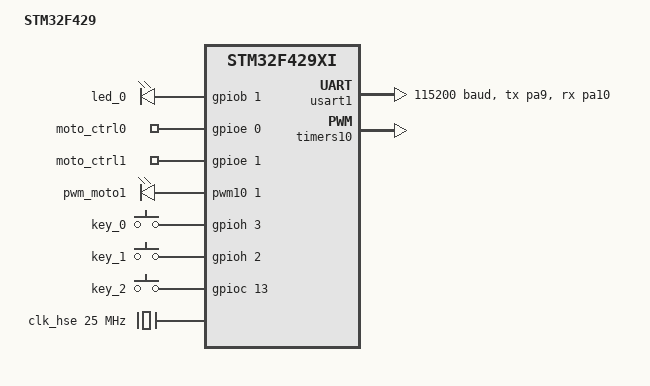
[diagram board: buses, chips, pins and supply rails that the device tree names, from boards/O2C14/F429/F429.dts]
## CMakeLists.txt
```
# SPDX-License-Identifier: Apache-2.0

cmake_minimum_required(VERSION 3.20.0)

find_package(Zephyr REQUIRED HINTS $ENV{ZEPHYR_BASE})
project(F429)

target_sources(app PRIVATE src/main.c)
```

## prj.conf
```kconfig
CONFIG_PWM=y
CONFIG_GPIO=y
CONFIG_SHELL=y
CONFIG_HEAP_MEM_POOL_SIZE=256
```

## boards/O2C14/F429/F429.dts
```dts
/dts-v1/;
#include <st/f4/stm32f429Xi.dtsi>
#include <st/f4/stm32f429i(e-g)tx-pinctrl.dtsi>

/ {
	model = "STM32F429";
	compatible = "O2C14,F429";

	chosen {
		zephyr,console = &usart1;
		zephyr,shell-uart = &usart1;
		zephyr,sram = &sram0;
		zephyr,flash = &flash0;
		zephyr,code-partition = &slot0_partition;
	};

	leds: leds {
		compatible = "gpio-leds";
		led_0: led_0 {
			gpios = <&gpiob 1 GPIO_ACTIVE_HIGH>;
		};
		moto_ctrl0: moto_ctrl0 {
			gpios = <&gpioe 0 GPIO_ACTIVE_HIGH>;
		};
		moto_ctrl1: moto_ctrl1 {
			gpios = <&gpioe 1 GPIO_ACTIVE_HIGH>;
		};
	};
	
	pwm_motos: pwm_motos {
		compatible = "pwm-leds";
		pwm_moto1:pwm_moto1{
			pwms = <&pwm10 1 PWM_MSEC(20) PWM_POLARITY_NORMAL>;
		};
	};

	gpio_keys {
		compatible = "gpio-keys";
		key_0: key_0 {
			gpios = <&gpioh 3 GPIO_ACTIVE_HIGH>;
		};
		key_1: key_1 {
			gpios = <&gpioh 2 GPIO_ACTIVE_HIGH>;
		};
		key_2: key_2 {
			gpios = <&gpioc 13 GPIO_ACTIVE_HIGH>;
		};
	};

	aliases {
		led0 = &led_0;
		sw0 = &key_0;
		sw1 = &key_1;
		sw2 = &key_2;
		moto-in3 = &moto_ctrl0;
		moto-in4 = &moto_ctrl1;
		pwm-moto = &pwm_moto1;
	};
};

&clk_lsi {
	status = "okay";
};

&clk_hse {
	// hse-bypass;
	clock-frequency = <DT_FREQ_M(25)>;
	status = "okay";
};

&pll {
	div-m = <25>;
	mul-n = <336>;
	div-p = <2>;// rcc
	div-q = <7>;
	clocks = <&clk_hse>;
	status = "okay";
};

&rcc {
	clocks = <&pll>;
	clock-frequency = <DT_FREQ_M(168)>; /* highest value to get a precise USB clock */
	ahb-prescaler = <1>;
	apb1-prescaler = <4>;
	apb2-prescaler = <2>;
};

&usart1 {
	pinctrl-0 = <&usart1_tx_pa9 &usart1_rx_pa10>;
	pinctrl-names = "default";
	current-speed = <115200>;
	status = "okay";
};

&timers10 {
	st,prescaler = <10000>;// 8.4k
	status = "okay";

	pwm10: pwm {
		status = "okay";
		pinctrl-0 = <&tim10_ch1_pf6>;
		pinctrl-names = "default";
	};
};

&sram0 {
	reg = <0x20000000 DT_SIZE_K(256)>;
};

&flash0 {
	reg = <0x08000000 DT_SIZE_K(1024)>;
	partitions {
		compatible = "fixed-partitions";
		#address-cells = <1>;
		#size-cells = <1>;

		/* 32KB for bootloader */
		boot_partition: partition@0 {
			label = "mcuboot";
			reg = <0x00000000 DT_SIZE_K(32)>;
			read-only;
		};

		/*
		 * nvs subsystem requires 2 sectors with a max total of 32K
		 * On F4 series, the only option is to use the following
		 * partition, which is compatible with mcuboot usage.
		 * Keep it commented in order it is not used by CI.
		 *
		 * storage_partition: partition@8000 {
			 *    label = "storage";
			 *    reg = <0x0008000 DT_SIZE_K(32)>;
		 * };
		 */

		/* application image slot: 256KB */
		slot0_partition: partition@20000 {
			label = "image-0";
			reg = <0x00020000 DT_SIZE_K(256)>;
		};

		/* backup slot: 256KB */
		slot1_partition: partition@60000 {
			label = "image-1";
			reg = <0x00060000 DT_SIZE_K(256)>;
		};

		/* swap slot: 128KB */
		scratch_partition: partition@a0000 {
			label = "image-scratch";
			reg = <0x000a0000 DT_SIZE_K(128)>;
		};

	};
};
```

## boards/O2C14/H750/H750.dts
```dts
/dts-v1/;
#include <st/h7/stm32h750Xb.dtsi>
#include <st/h7/stm32h750vbtx-pinctrl.dtsi>

/ {
	model = "stm32h750";
	compatible = "O2C14,H750";

	chosen {
		zephyr,console = &usart1;
		zephyr,shell-uart = &usart1;
		zephyr,flash = &flash0;
		zephyr,sram = &sram0;
	};

	leds: leds {
		compatible = "gpio-leds";
		led_0: led_0 {
			gpios = <&gpiob 1 GPIO_ACTIVE_LOW>;
		};
		motor_ctrl0: motor_ctrl0 {
			gpios = <&gpioc 3 GPIO_ACTIVE_LOW>;
		};
		motor_ctrl1: motor_ctrl1 {
			gpios = <&gpioc 1 GPIO_ACTIVE_LOW>;
		};
	};

	pwm_motors: pwm_motors {
		compatible = "pwm-leds";
		pwm_motor1: pwm_motor1{
			pwms = <&pwm2 2 PWM_MSEC(20) PWM_POLARITY_NORMAL>;
		};
	};
	
	gpio_keys {
		compatible = "gpio-keys";
		key_0: key_0 {
			gpios = <&gpioa 0 GPIO_ACTIVE_HIGH>;
		};
		key_1: key_1 {
			gpios = <&gpioa 2 (GPIO_ACTIVE_LOW|GPIO_PULL_UP)>;
		};
		key_2: key_2 {
			gpios = <&gpioc 13 GPIO_ACTIVE_HIGH>;
		};
	};

	aliases {
		led0 = &led_0;
		sw0 = &key_0;
		sw1 = &key_1;
		sw2 = &key_2;
		motor-in3 = &motor_ctrl0;
		motor-in4 = &motor_ctrl1;
		pwm-motor = &pwm_motor1;
	};
};

&clk_hse {
	clock-frequency = <DT_FREQ_M(25)>;
	status = "okay";
};

&clk_lse {
	status = "okay";
};

&pll {
	div-m = <5>;
	mul-n = <192>;
	div-p = <2>;
	div-q = <4>;
	div-r = <4>;
	clocks = <&clk_hse>;
	status = "okay";
};

&pll3 {
	div-m = <5>;
	mul-n = <192>;
	div-p = <2>;
	div-q = <20>;
	div-r = <99>;
	clocks = <&clk_hse>;
	status = "okay";
};

&rcc {
	clocks = <&pll>;
	clock-frequency = <DT_FREQ_M(480)>;
	d1cpre = <1>;
	hpre = <2>;
	d1ppre = <2>;
	d2ppre1 = <2>;
	d2ppre2 = <2>;
	d3ppre = <2>;
};

&usart1 {
	dma-names = "tx", "rx";
	pinctrl-0 = <&usart1_tx_pa9 &usart1_rx_pa10>;
	pinctrl-names = "default";
	current-speed = <115200>;
	status = "okay";
};
&timers2 {
	st,prescaler = <10000>;
	status = "okay";

	pwm2: pwm {
		status = "okay";
		pinctrl-0 = <&tim2_ch2_pa1>;
		pinctrl-names = "default";
	};
};
```

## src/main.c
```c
#include <stdio.h>
#include <zephyr/kernel.h>
#include <zephyr/sys/printk.h>
#include <zephyr/device.h>
#include <zephyr/drivers/pwm.h>
#include <zephyr/drivers/gpio.h>

static const struct pwm_dt_spec pwm_motor = PWM_DT_SPEC_GET(DT_ALIAS(pwm_motor));
static const struct gpio_dt_spec led0 = GPIO_DT_SPEC_GET(DT_ALIAS(led0), gpios);
static const struct gpio_dt_spec motor_in3 = GPIO_DT_SPEC_GET(DT_ALIAS(motor_in3), gpios);
static const struct gpio_dt_spec motor_in4 = GPIO_DT_SPEC_GET(DT_ALIAS(motor_in4), gpios);
static const struct gpio_dt_spec button0 = GPIO_DT_SPEC_GET_OR(DT_ALIAS(sw0), gpios, {0});
static const struct gpio_dt_spec button1 = GPIO_DT_SPEC_GET_OR(DT_ALIAS(sw1), gpios, {0});
static const struct gpio_dt_spec button2 = GPIO_DT_SPEC_GET_OR(DT_ALIAS(sw2), gpios, {0});
static struct gpio_callback button0_cb_data;
static struct gpio_callback button1_cb_data;
static struct gpio_callback button2_cb_data;

struct button_data_t
{
	struct gpio_callback *cb;
};

K_FIFO_DEFINE(button_fifo);
static void button_pressed(const struct device *dev, struct gpio_callback *cb, uint32_t pins)
{
	struct button_data_t *data = k_malloc(sizeof(struct button_data_t));
	data->cb = cb;
	k_fifo_put(&button_fifo, data);
}

static int board_gpio_init(const struct gpio_dt_spec *spec)
{
	int ret;
	ret = gpio_is_ready_dt(spec);
	if (ret < 0)
	{
		printf("Error: led0 is not ready\n");
		return ret;
	}

	ret = gpio_pin_configure_dt(spec, GPIO_OUTPUT_ACTIVE);
	if (ret < 0)
	{
		return ret;
	}
	return 0;
}

static int init_buttom_x(const struct gpio_dt_spec *button, struct gpio_callback *button_cb_data, void *button_pressed)
{
	int ret;

	if (!gpio_is_ready_dt(button))
	{
		printf("Error: button device %s is not ready\n",
			   button->port->name);
		return 0;
	}

	ret = gpio_pin_configure_dt(button, GPIO_INPUT);
	if (ret != 0)
	{
		printf("Error %d: failed to configure %s pin %d\n",
			   ret, button->port->name, button->pin);
		return 0;
	}

	ret = gpio_pin_interrupt_configure_dt(button,
										  GPIO_INT_EDGE_TO_ACTIVE);

	if (ret != 0)
	{
		printf("Error %d: failed to configure interrupt on %s pin %d\n",
			   ret, button->port->name, button->pin);
		return 0;
	}

	gpio_init_callback(button_cb_data, button_pressed, BIT(button->pin));
	gpio_add_callback(button->port, button_cb_data);
	printf("Set up button at %s pin %d\n", button->port->name, button->pin);
	return 0;
}

static void toggle_reversed(int reversed)
{
	if (reversed)
	{
		gpio_pin_set_dt(&motor_in3, 0);
		gpio_pin_set_dt(&motor_in4, 1);
	}
	else
	{
		gpio_pin_set_dt(&motor_in3, 1);
		gpio_pin_set_dt(&motor_in4, 0);
	}
}

int main(void)
{
	if (!pwm_is_ready_dt(&pwm_motor))
	{
		printf("Error: PWM device %s is not ready\n",
			   pwm_motor.dev->name);
		return 0;
	}
	board_gpio_init(&led0);
	board_gpio_init(&motor_in3);
	board_gpio_init(&motor_in4);

	init_buttom_x(&button0, &button0_cb_data, button_pressed);
	init_buttom_x(&button1, &button1_cb_data, button_pressed);
	init_buttom_x(&button2, &button2_cb_data, button_pressed);

	printf("board: %s\n", CONFIG_BOARD_TARGET);

	int speed = 1;		  // 速度状态
	int reversed = 0;	  // 反转状态
	int motor_enable = 0; // 电机开关状态
	int64_t last_press_time = 0;
#if 0 
	// 调试时改为1
	gpio_pin_set_dt(&motor_in3, 0);
	gpio_pin_set_dt(&motor_in4, 1);
	pwm_set_pulse_dt(&pwm_motor, pwm_motor.period / 2);
#endif
	while (1)
	{
		struct button_data_t *rx_data = k_fifo_get(&button_fifo, K_FOREVER); // 读取按钮消息
		int64_t now = k_uptime_get();
		if (now - last_press_time < 500) // 抖动消除, 触发间隔小于500ms则忽略
		{
			k_free(rx_data);
			continue;
		}
		else
		{
			last_press_time = now;
		}

		// printf("cb %p\n", rx_data->cb); 调试
		/*
			由于按钮和回调函数绑定,
			所以只要在按钮按下时记录对应回调(rx_data->cb)
			并在这里进行比较就能分辨是哪个按钮按下
		*/
		if (rx_data->cb == &button0_cb_data)

		{
			// 启停
			// printf("button0_cb_data %p\n", &button0_cb_data);
			// gpio_pin_toggle_dt(&led0);
			gpio_pin_set_dt(&led0, !motor_enable);
			motor_enable = gpio_pin_get_dt(&led0); // 如果电平没有修改成功, 那么下次也能向反方向修改电平

			printf("motor_enable %d", motor_enable);
			if (motor_enable)
			{
				toggle_reversed(motor_enable);
			}
			else
			{
				gpio_pin_set_dt(&motor_in3, 0);
				gpio_pin_set_dt(&motor_in4, 0);
			}
		}
		else if (rx_data->cb == &button1_cb_data)
		{
			// 换挡
			// printf("button1_cb_data %p\n", &button1_cb_data);
			printf("speed %d\n", speed);
			uint32_t pulse = pwm_motor.period / speed;
			/*
				高电平时长 = 周期 / 挡位.
				周期已经预设为20ms, 可用代码调整
			*/
			pwm_set_pulse_dt(&pwm_motor, pulse);
			speed++;
			if (speed > 5)
			{
				speed = 1; // 循环调整
			}
		}
		else if (rx_data->cb == &button2_cb_data)
		{
			// 换向
			// printf("button2_cb_data %p\n", &button2_cb_data);
			if (motor_enable) // 电机启动后再调试
			{
				reversed = !reversed;
				printf("reversed %d\n", reversed);
				toggle_reversed(motor_enable);
			}
		}

		k_free(rx_data);
	}
	return 0;
}
```
